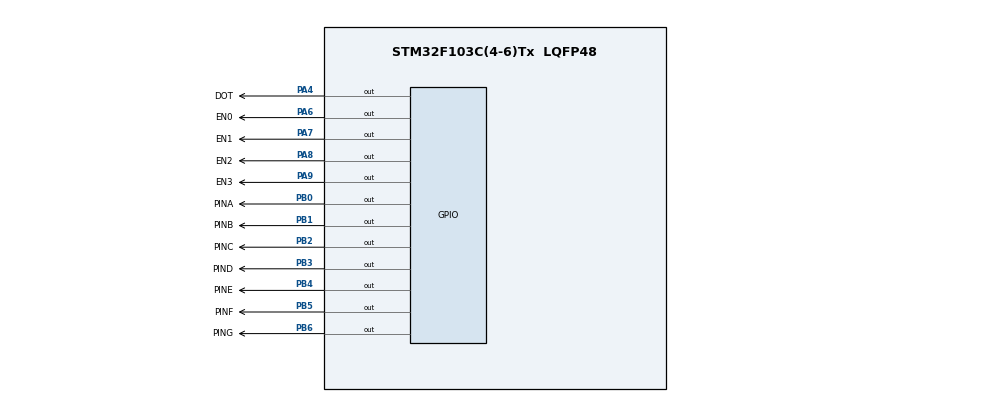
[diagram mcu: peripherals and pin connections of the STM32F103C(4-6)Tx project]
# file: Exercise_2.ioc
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Mcu.Family=STM32F1
Mcu.Name=STM32F103C(4-6)Tx
Mcu.Package=LQFP48
NVIC.PriorityGroup=NVIC_PRIORITYGROUP_4
NVIC.TIM2_IRQn=true\:0\:0\:false\:false\:true\:true\:true\:true
PA4.GPIO_Label=DOT
PA4.Signal=GPIO_Output
PA6.GPIO_Label=EN0
PA6.Signal=GPIO_Output
PA7.GPIO_Label=EN1
PA7.Signal=GPIO_Output
PA8.GPIO_Label=EN2
PA8.Signal=GPIO_Output
PA9.GPIO_Label=EN3
PA9.Signal=GPIO_Output
PB0.GPIO_Label=PINA
PB0.Signal=GPIO_Output
PB1.GPIO_Label=PINB
PB1.Signal=GPIO_Output
PB2.GPIO_Label=PINC
PB2.Signal=GPIO_Output
PB3.GPIO_Label=PIND
PB3.Signal=GPIO_Output
PB4.GPIO_Label=PINE
PB4.Signal=GPIO_Output
PB5.GPIO_Label=PINF
PB5.Signal=GPIO_Output
PB6.GPIO_Label=PING
PB6.Signal=GPIO_Output
ProjectManager.HeapSize=0x200
ProjectManager.StackSize=0x400
ProjectManager.TargetToolchain=STM32CubeIDE
RCC.APB1Freq_Value=8000000
RCC.APB2Freq_Value=8000000
TIM2.Period=9
TIM2.Prescaler=7999
VP_SYS_VS_ND.Mode=No_Debug
VP_TIM2_VS_ClockSourceINT.Mode=Internal
board=custom

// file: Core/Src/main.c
/* USER CODE BEGIN Header */
/**
  ******************************************************************************
  * @file           : main.c
  * @brief          : Main program body
  ******************************************************************************
  * @attention
  *
  * Copyright (c) 2024 STMicroelectronics.
  * All rights reserved.
  *
  * This software is licensed under terms that can be found in the LICENSE file
  * in the root directory of this software component.
  * If no LICENSE file comes with this software, it is provided AS-IS.
  *
  ******************************************************************************
  */
/* USER CODE END Header */
#include "main.h"

/* USER CODE BEGIN Includes */
#include "Control_7SEG.h"
#include "Blinky_7SEG.h"
/* USER CODE END Includes */

TIM_HandleTypeDef htim2;

void SystemClock_Config(void);
static void MX_GPIO_Init(void);
static void MX_TIM2_Init(void);

int main(void)
{

  /* MCU Configuration--------------------------------------------------------*/

  /* Reset of all peripherals, Initializes the Flash interface and the Systick. */
  HAL_Init();

  /* Configure the system clock */
  SystemClock_Config();

  /* Initialize all configured peripherals */
  MX_GPIO_Init();
  MX_TIM2_Init();
  /* USER CODE BEGIN 2 */

  HAL_TIM_Base_Start_IT(&htim2);
  /* USER CODE END 2 */

  /* Infinite loop */
  /* USER CODE BEGIN WHILE */
  setTime1(50);
  setTime2(100);
  setTime3(150);
  setTime4(200);
  while (1)
  {
	  if(flag1){
		  setTime1(200);
		  HAL_GPIO_WritePin(EN0_GPIO_Port, EN0_Pin, RESET);
		  HAL_GPIO_WritePin(EN1_GPIO_Port, EN1_Pin, SET);
		  HAL_GPIO_WritePin(EN2_GPIO_Port, EN2_Pin, SET);
		  HAL_GPIO_WritePin(EN3_GPIO_Port, EN3_Pin, SET);
		  HAL_GPIO_TogglePin(DOT_GPIO_Port, DOT_Pin);
		  display7SEG(1);
	  }
	  else if(flag2){
		  setTime2(200);
		  HAL_GPIO_WritePin(EN0_GPIO_Port, EN0_Pin, SET);
		  HAL_GPIO_WritePin(EN1_GPIO_Port, EN1_Pin, RESET);
		  HAL_GPIO_WritePin(EN2_GPIO_Port, EN2_Pin, SET);
		  HAL_GPIO_WritePin(EN3_GPIO_Port, EN3_Pin, SET);
		  display7SEG(2);
	  }
	  else if(flag3){
		  setTime3(200);
		  HAL_GPIO_WritePin(EN0_GPIO_Port, EN0_Pin, SET);
		  HAL_GPIO_WritePin(EN1_GPIO_Port, EN1_Pin, SET);
		  HAL_GPIO_WritePin(EN2_GPIO_Port, EN2_Pin, RESET);
		  HAL_GPIO_WritePin(EN3_GPIO_Port, EN3_Pin, SET);
		  HAL_GPIO_TogglePin(DOT_GPIO_Port, DOT_Pin);
		  display7SEG(3);
	  }
	  else if(flag4){
		  setTime4(200);
		  HAL_GPIO_WritePin(EN0_GPIO_Port, EN0_Pin, SET);
		  HAL_GPIO_WritePin(EN1_GPIO_Port, EN1_Pin, SET);
		  HAL_GPIO_WritePin(EN2_GPIO_Port, EN2_Pin, SET);
		  HAL_GPIO_WritePin(EN3_GPIO_Port, EN3_Pin, RESET);
		  display7SEG(0);
	  }
    /* USER CODE END WHILE */

  }
}

void SystemClock_Config(void)
{
  RCC_OscInitTypeDef RCC_OscInitStruct = {0};
  RCC_ClkInitTypeDef RCC_ClkInitStruct = {0};

  /** Initializes the RCC Oscillators according to the specified parameters
  * in the RCC_OscInitTypeDef structure.
  */
  RCC_OscInitStruct.OscillatorType = RCC_OSCILLATORTYPE_HSI;
  RCC_OscInitStruct.HSIState = RCC_HSI_ON;
  RCC_OscInitStruct.HSICalibrationValue = RCC_HSICALIBRATION_DEFAULT;
  RCC_OscInitStruct.PLL.PLLState = RCC_PLL_NONE;
  if (HAL_RCC_OscConfig(&RCC_OscInitStruct) != HAL_OK)
  {
    Error_Handler();
  }

  /** Initializes the CPU, AHB and APB buses clocks
  */
  RCC_ClkInitStruct.ClockType = RCC_CLOCKTYPE_HCLK|RCC_CLOCKTYPE_SYSCLK
                              |RCC_CLOCKTYPE_PCLK1|RCC_CLOCKTYPE_PCLK2;
  RCC_ClkInitStruct.SYSCLKSource = RCC_SYSCLKSOURCE_HSI;
  RCC_ClkInitStruct.AHBCLKDivider = RCC_SYSCLK_DIV1;
  RCC_ClkInitStruct.APB1CLKDivider = RCC_HCLK_DIV1;
  RCC_ClkInitStruct.APB2CLKDivider = RCC_HCLK_DIV1;

  if (HAL_RCC_ClockConfig(&RCC_ClkInitStruct, FLASH_LATENCY_0) != HAL_OK)
  {
    Error_Handler();
  }
}

static void MX_TIM2_Init(void)
{

  TIM_ClockConfigTypeDef sClockSourceConfig = {0};
  TIM_MasterConfigTypeDef sMasterConfig = {0};

  htim2.Instance = TIM2;
  htim2.Init.Prescaler = 7999;
  htim2.Init.CounterMode = TIM_COUNTERMODE_UP;
  htim2.Init.Period = 9;
  htim2.Init.ClockDivision = TIM_CLOCKDIVISION_DIV1;
  htim2.Init.AutoReloadPreload = TIM_AUTORELOAD_PRELOAD_DISABLE;
  if (HAL_TIM_Base_Init(&htim2) != HAL_OK)
  {
    Error_Handler();
  }
  sClockSourceConfig.ClockSource = TIM_CLOCKSOURCE_INTERNAL;
  if (HAL_TIM_ConfigClockSource(&htim2, &sClockSourceConfig) != HAL_OK)
  {
    Error_Handler();
  }
  sMasterConfig.MasterOutputTrigger = TIM_TRGO_RESET;
  sMasterConfig.MasterSlaveMode = TIM_MASTERSLAVEMODE_DISABLE;
  if (HAL_TIMEx_MasterConfigSynchronization(&htim2, &sMasterConfig) != HAL_OK)
  {
    Error_Handler();
  }

}

static void MX_GPIO_Init(void)
{
  GPIO_InitTypeDef GPIO_InitStruct = {0};

  /* GPIO Ports Clock Enable */
  __HAL_RCC_GPIOA_CLK_ENABLE();
  __HAL_RCC_GPIOB_CLK_ENABLE();

  /*Configure GPIO pin Output Level */
  HAL_GPIO_WritePin(GPIOA, DOT_Pin|EN0_Pin|EN1_Pin|EN2_Pin
                          |EN3_Pin, GPIO_PIN_RESET);

  /*Configure GPIO pin Output Level */
  HAL_GPIO_WritePin(GPIOB, PINA_Pin|PINB_Pin|PINC_Pin|PIND_Pin
                          |PINE_Pin|PINF_Pin|PING_Pin, GPIO_PIN_RESET);

  /*Configure GPIO pins : DOT_Pin EN0_Pin EN1_Pin EN2_Pin
                           EN3_Pin */
  GPIO_InitStruct.Pin = DOT_Pin|EN0_Pin|EN1_Pin|EN2_Pin
                          |EN3_Pin;
  GPIO_InitStruct.Mode = GPIO_MODE_OUTPUT_PP;
  GPIO_InitStruct.Pull = GPIO_NOPULL;
  GPIO_InitStruct.Speed = GPIO_SPEED_FREQ_LOW;
  HAL_GPIO_Init(GPIOA, &GPIO_InitStruct);

  /*Configure GPIO pins : PINA_Pin PINB_Pin PINC_Pin PIND_Pin
                           PINE_Pin PINF_Pin PING_Pin */
  GPIO_InitStruct.Pin = PINA_Pin|PINB_Pin|PINC_Pin|PIND_Pin
                          |PINE_Pin|PINF_Pin|PING_Pin;
  GPIO_InitStruct.Mode = GPIO_MODE_OUTPUT_PP;
  GPIO_InitStruct.Pull = GPIO_NOPULL;
  GPIO_InitStruct.Speed = GPIO_SPEED_FREQ_LOW;
  HAL_GPIO_Init(GPIOB, &GPIO_InitStruct);

}

/* USER CODE BEGIN 4 */
void HAL_TIM_PeriodElapsedCallback(TIM_HandleTypeDef *htim){
	timeRun1();
	timeRun2();
	timeRun3();
	timeRun4();
}
/* USER CODE END 4 */

void Error_Handler(void)
{
  __disable_irq();
  while (1)
  {
  }
}
